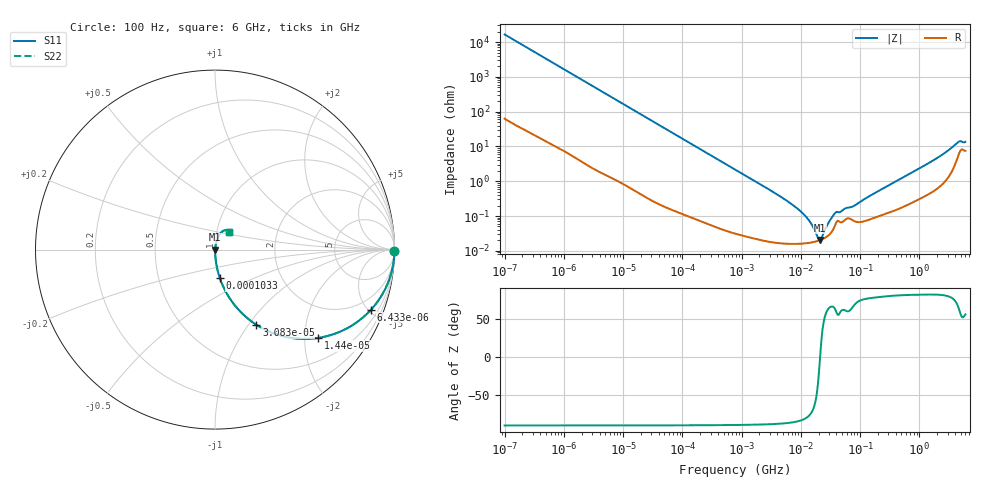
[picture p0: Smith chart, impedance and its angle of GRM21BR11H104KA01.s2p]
!Murata Part Number: GRM21BR11H104KA01
!These Parameters are Measured in Series Mode Connection
!Data Generated on Mar 30, 2021
!  o--ll--o
!Port1  Port2
!  o------o
!Operation Temp=25[degC], DC Bias Voltage=0[V]
!Freq. Start=100[Hz] Stop=6[GHz] 401[Steps]
# Hz S RI R 50
!Freq.(Hz) S11(Real) S11(Imag) S21(Real) S21(Imag) S12(Real) S12(Imag) S22(Real) S22(Imag)
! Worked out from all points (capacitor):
!   401 points, 100 Hz to 6 GHz, reference 50 ohm
!   read as one part in series: C = 96 nF near 109 Hz
!   lowest |Z| = 20.4 mohm at 21.28 MHz (marker M1)
!   series resonance near 21.13 MHz, so ESL is about 590 pH
!   S11 on the Smith chart (normalised r, x): 100 Hz: open; 6.433 kHz: 1.02, -5.20; 14.4 kHz: 1.01, -2.33; 30.83 kHz: 1.01, -1.09; 103.3 kHz: 1.00, -0.33; 6 GHz: 1.15, +0.23
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100  0.9999 -0.00604  5.94e-05 0.00604  5.94e-05 0.00604  0.9999 -0.00604
627  0.9984 -0.0376  0.00158 0.0376  0.00158 0.0376  0.9984 -0.0376
2008  0.9852 -0.1185  0.0148 0.1185  0.0148 0.1185  0.9852 -0.1185
6433  0.8701 -0.3339  0.1299 0.3339  0.1299 0.3339  0.8701 -0.3339
14402  0.5754 -0.4918  0.4246 0.4918  0.4246 0.4918  0.5754 -0.4918
30832  0.2304 -0.4186  0.7696 0.4186  0.7696 0.4186  0.2304 -0.4186
40335  0.1496 -0.354  0.8504 0.354  0.8504 0.354  0.1496 -0.354
103284  0.027 -0.1588  0.973 0.1588  0.973 0.1588  0.027 -0.1588
774597  0.000794 -0.0219  0.9992 0.0219  0.9992 0.0219  0.000794 -0.0219
6948629  0.000163 -0.00221  0.9998 0.00221  0.9998 0.00221  0.000163 -0.00221
1.137099e7  0.000164 -0.00108  0.9998 0.00108  0.9998 0.00108  0.000164 -0.00108
1.555665e7  0.000176 -0.000512  0.9998 0.000512  0.9998 0.000512  0.000176 -0.000512
1.946e7  0.000193 -0.000137  0.9998 0.000137  0.9998 0.000137  0.000193 -0.000137
2.128304e7  0.000204 1.22e-05  0.9998 -1.22e-05  0.9998 -1.22e-05  0.000204 1.22e-05
2.327686e7  0.000217 0.000163  0.9998 -0.000163  0.9998 -0.000163  0.000217 0.000163
3.045065e7  0.000296 0.000647  0.9997 -0.000647  0.9997 -0.000647  0.000296 0.000647
3.80911e7  0.000557 0.00109  0.9994 -0.00109  0.9994 -0.00109  0.000557 0.00109
7.797396e7  0.000731 0.00179  0.9993 -0.00179  0.9993 -0.00179  0.000731 0.00179
3.124326e8  0.00131 0.00766  0.9987 -0.00766  0.9987 -0.00766  0.00131 0.00766
1.873145e9  0.00739 0.0425  0.9926 -0.0425  0.9926 -0.0425  0.00739 0.0425
4.385646e9  0.0558 0.1081  0.9442 -0.1081  0.9442 -0.1081  0.0558 0.1081
6e9  0.0798 0.0968  0.9202 -0.0968  0.9202 -0.0968  0.0798 0.0968
